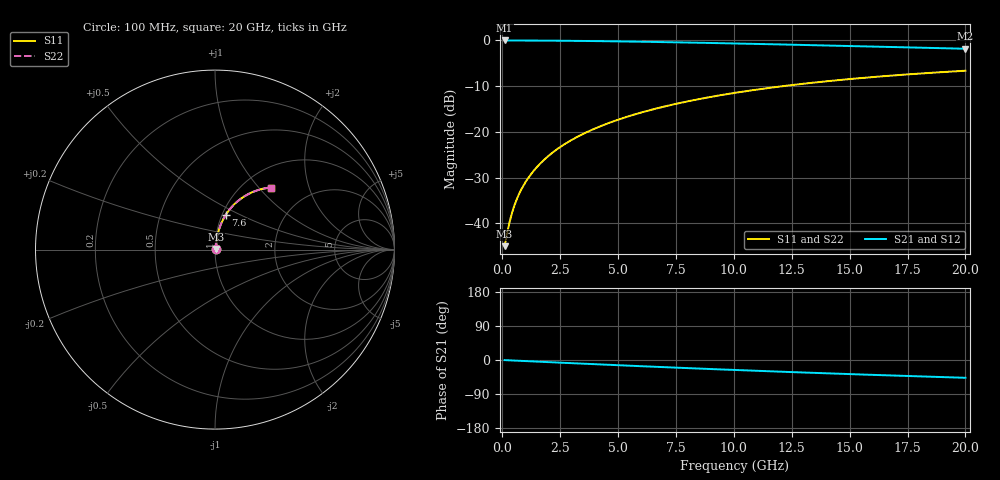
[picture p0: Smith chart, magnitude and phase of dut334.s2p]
! Touchstone file exported from HFSS 2024.1.0
!  File:  C:/UserFiles/LocalFiles/RDL_TSV_Batchsim/temp_RDL_bottom_334_1779611610.aedt
!  Generated:  04:35:58 PM May 24, 2026
!  Design:  RDL_bottom
!  Project:  temp_RDL_bottom_334_1779611610
!  Setup:  Setup1
!  Solution:  Sweep
! Variables:
!  dtsv = 10.80580581um
!  hbump = 3um
!  htsv = 61.36um
!  ldown = 649.52um
!  lrdl = 100um
!  p = 40
!  p1 = 46.95um
!  rhole = 1um
!  t = 450um
!  tdown = 3.07um
!  trdl = 3.915915916um
!  wdown = 15.92um
!  wrdl = 20um
# GHz S MA R 50.000000
! Terminal data exported
! Port[1] = RDL1_T1
! Port[2] = RDL1_T2
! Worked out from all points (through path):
!   200 points, 100 MHz to 20 GHz, reference 50 ohm
!   highest |S21| = -0.04 dB at 100 MHz (marker M1); lowest = -1.9 dB at 20 GHz (marker M2)
!   group delay of S21, straight-line fit = 6.51 ps
!   lowest |S11| = -45.0 dB at 100 MHz (marker M3), VSWR 1.01, Z = 50.5 + j0.291 ohm
!   |S11| at or under -10 dB: start of sweep to 12.16 GHz
!   |S22| runs from -45.0 to -6.7 dB; largest |S21 - S12| = 2.4e-15
!   S11 on the Smith chart (normalised r, x): 100 MHz: 1.01, +0.01; 7.6 GHz: 1.04, +0.42; 20 GHz: 1.32, +1.16
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0.1  0.005624 30.8  0.9952 -0.3  0.9952 -0.3  0.005624 30.8
! Gamma 0 0 0 0
! Port Impedance 50 0 50 0
0.2  0.007575 49.2  0.995 -0.6  0.995 -0.6  0.007575 49.2
0.3  0.009954 59.0  0.9949 -0.9  0.9949 -0.9  0.009954 59.0
0.4  0.01248 64.7  0.9947 -1.2  0.9947 -1.2  0.01248 64.7
0.5  0.01505 68.4  0.9945 -1.4  0.9945 -1.4  0.01505 68.4
0.6  0.01764 71.0  0.9942 -1.7  0.9942 -1.7  0.01764 71.0
0.8  0.02285 74.4  0.9938 -2.3  0.9938 -2.3  0.02285 74.3
1.1  0.03072 77.2  0.9931 -3.1  0.9931 -3.1  0.03072 77.1
1.3  0.036 78.3  0.9926 -3.7  0.9926 -3.7  0.036 78.3
1.6  0.04397 79.3  0.9917 -4.5  0.9917 -4.5  0.04397 79.3
2.1  0.05732 80.0  0.99 -5.9  0.99 -5.9  0.05732 80.0
2.7  0.07344 80.1  0.9874 -7.6  0.9874 -7.6  0.07344 80.1
3.5  0.09501 79.6  0.983 -9.8  0.983 -9.8  0.095 79.6
4.2  0.1139 78.7  0.9784 -11.7  0.9784 -11.7  0.1139 78.7
5  0.1355 77.5  0.9725 -13.8  0.9725 -13.8  0.1355 77.5
5.9  0.1596 75.9  0.965 -16.1  0.965 -16.1  0.1596 75.9
6.8  0.1835 74.3  0.9567 -18.4  0.9567 -18.4  0.1835 74.2
7.6  0.2045 72.7  0.9489 -20.4  0.9489 -20.4  0.2045 72.7
10.1  0.2677 67.5  0.9221 -26.5  0.9221 -26.5  0.2676 67.5
13.4  0.3435 60.7  0.8841 -33.9  0.8841 -33.9  0.3434 60.7
16.7  0.4093 54.2  0.8454 -40.7  0.8454 -40.7  0.4091 54.1
20  0.4647 48.1  0.8078 -46.9  0.8078 -46.9  0.4646 48.1
